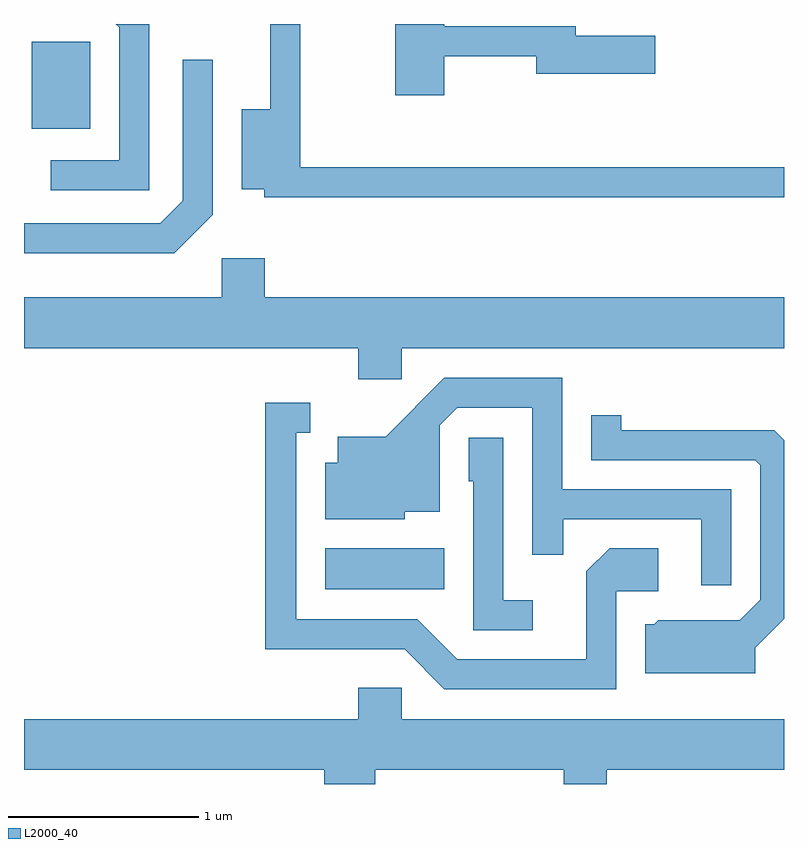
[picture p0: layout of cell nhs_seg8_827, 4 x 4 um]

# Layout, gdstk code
import gdstk
lib = gdstk.Library(unit=1e-6, precision=1e-09)
def R(c, l, rs):  # rectangles x0, y0, x1, y1
    for r in rs: c.add(gdstk.rectangle(r[:2], r[2:], *l))
def P(c, l, *ps):  # polygons
    for p in ps: c.add(gdstk.Polygon(p, *l))
L2000_40 = (2000, 40)

nhs_seg8_827 = lib.new_cell('nhs_seg8_827')
R(nhs_seg8_827, L2000_40, [(211.196,1837.366,211.824,1837.584), (209.651,1839.791,209.959,1840.249)])
P(nhs_seg8_827, L2000_40, [(210.269,1840.342),(210.093,1840.342),(210.111,1840.324),(210.111,1839.624),(209.753,1839.624),(209.753,1839.466),(210.269,1839.466)],
  [(211.824,1840.171),(212.306,1840.171),(212.306,1840.081),(212.934,1840.081),(212.934,1840.279),(212.514,1840.279),(212.514,1840.329),(211.824,1840.329),(211.824,1840.342),(211.566,1840.342),(211.566,1839.966),(211.824,1839.966)],
  [(213.611,1839.589),(211.064,1839.589),(211.064,1840.342),(210.906,1840.342),(210.906,1839.894),(210.756,1839.894),(210.756,1839.471),(210.876,1839.471),(210.876,1839.431),(213.611,1839.431)],
  [(210.604,1839.339),(210.604,1840.153),(210.446,1840.153),(210.446,1839.412),(210.329,1839.294),(209.611,1839.294),(209.611,1839.136),(210.402,1839.136)],
  [(211.599,1838.636),(213.611,1838.636),(213.611,1838.904),(210.879,1838.904),(210.879,1839.109),(210.651,1839.109),(210.651,1838.904),(209.611,1838.904),(209.611,1838.636),(211.371,1838.636),(211.371,1838.471),(211.599,1838.471)],
  [(213.334,1837.894),(212.444,1837.894),(212.444,1838.479),(211.824,1838.479),(211.514,1838.169),(211.261,1838.169),(211.261,1838.034),(211.196,1838.034),(211.196,1837.736),(211.614,1837.736),(211.614,1837.776),(211.799,1837.776),(211.799,1838.229),(211.892,1838.321),(212.286,1838.321),(212.286,1837.548),(212.449,1837.548),(212.449,1837.736),(213.176,1837.736),(213.176,1837.388),(213.334,1837.388)],
  [(212.729,1837.356),(212.949,1837.356),(212.949,1837.584),(212.694,1837.584),(212.571,1837.462),(212.571,1836.999),(211.892,1836.999),(211.682,1837.209),(211.044,1837.209),(211.044,1838.191),(211.118,1838.191),(211.118,1838.349),(210.881,1838.349),(210.881,1837.051),(211.614,1837.051),(211.824,1836.841),(212.729,1836.841)],
  [(213.459,1837.059),(213.611,1837.211),(213.611,1838.152),(213.559,1838.204),(212.754,1838.204),(212.754,1838.283),(212.596,1838.283),(212.596,1838.046),(213.459,1838.046),(213.486,1838.019),(213.486,1837.312),(213.379,1837.204),(212.949,1837.204),(212.929,1837.184),(212.881,1837.184),(212.881,1836.926),(213.459,1836.926)],
  [(212.288,1837.309),(212.134,1837.309),(212.134,1838.164),(211.951,1838.164),(211.951,1837.936),(211.976,1837.936),(211.976,1837.151),(212.288,1837.151)],
  [(211.459,1836.416),(212.451,1836.416),(212.451,1836.342),(212.679,1836.342),(212.679,1836.416),(213.611,1836.416),(213.611,1836.684),(211.599,1836.684),(211.599,1836.849),(211.371,1836.849),(211.371,1836.684),(209.611,1836.684),(209.611,1836.416),(211.191,1836.416),(211.191,1836.342),(211.459,1836.342)])

lib.write_gds('nhs_seg8_827.gds')
